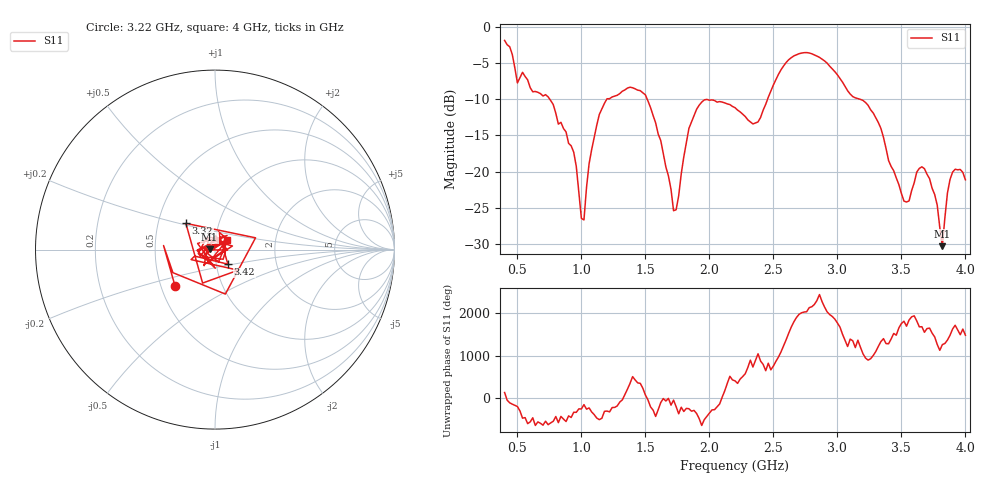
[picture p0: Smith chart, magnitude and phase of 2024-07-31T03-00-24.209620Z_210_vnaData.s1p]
!Created with skrf (http://scikit-rf.org).
# Hz S RI R 50.0
!freq ReS11 ImS11
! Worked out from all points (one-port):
!   181 points, 400 MHz to 4 GHz, reference 50 ohm
!   lowest |S11| = -30.3 dB at 3.82 GHz (marker M1), VSWR 1.06, Z = 47.1 + j0.113 ohm
!   |S11| at or under -10 dB: 753.5 MHz to 1.197 GHz (443.8 MHz wide, 45.5 % of centre); 1.515 GHz to 2.454 GHz (939.2 MHz wide, 47.3 % of centre); 3.18 GHz to end of sweep
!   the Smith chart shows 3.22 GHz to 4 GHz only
!   S11 on the Smith chart (normalised r, x): 3.22 GHz: 0.59, -0.26; 3.32 GHz: 0.69, +0.21; 3.42 GHz: 1.14, -0.19; 4 GHz: 1.14, +0.12
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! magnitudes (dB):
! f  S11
! 400 MHz  -1.8
! 500 MHz  -7.7
! 740 MHz  -9.7
! 860 MHz  -14.0
! 940 MHz  -17.3
! 1.02 GHz  -26.7
! 1.06 GHz  -18.9
! 1.14 GHz  -12.1
! 1.3 GHz  -9.2
! 1.5 GHz  -9.4
! 1.62 GHz  -15.7
! 1.72 GHz  -25.4
! 1.76 GHz  -23.4
! 1.84 GHz  -14.0
! 1.92 GHz  -10.8
! 2.2 GHz  -11.1
! 2.38 GHz  -13.1
! 2.66 GHz  -4.0
! 3.1 GHz  -9.3
! 3.22 GHz  -10.4
! 3.32 GHz  -13.2
! 3.42 GHz  -19.3
! 3.56 GHz  -24.1
! 3.68 GHz  -19.6
! 3.78 GHz  -24.7
! 3.82 GHz  -30.3
! 3.88 GHz  -21.1
! 4 GHz  -21.1
